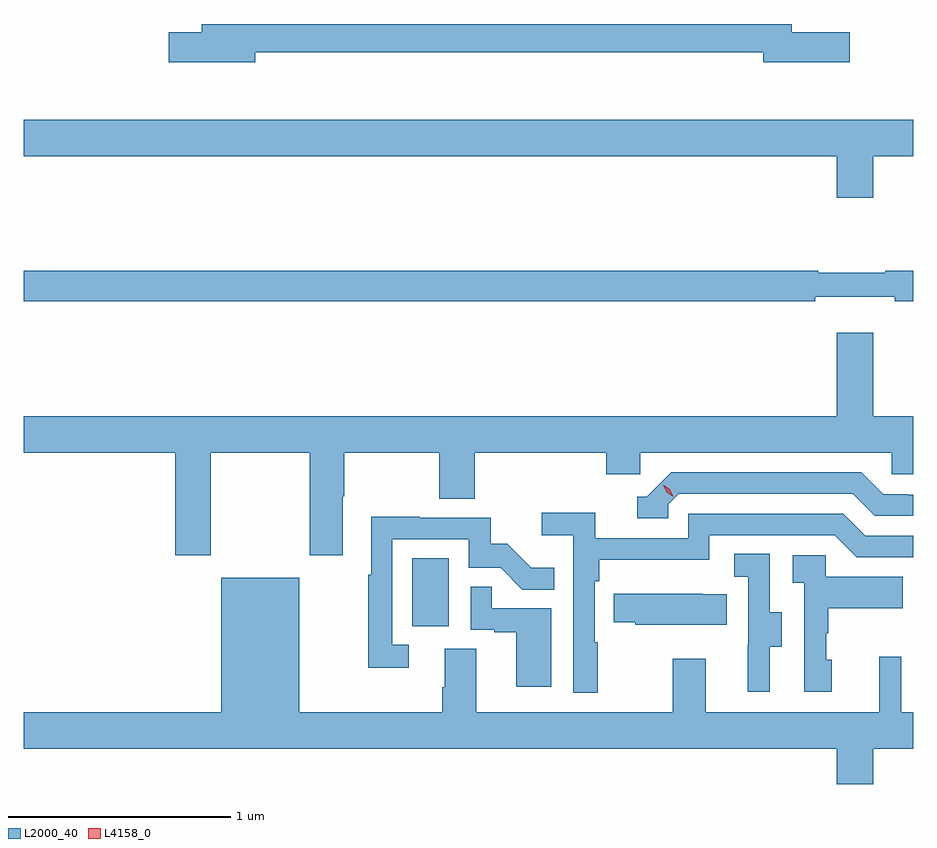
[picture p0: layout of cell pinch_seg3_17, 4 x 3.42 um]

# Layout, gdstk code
import gdstk
lib = gdstk.Library(unit=1e-6, precision=1e-09)
def R(c, l, rs):  # rectangles x0, y0, x1, y1
    for r in rs: c.add(gdstk.rectangle(r[:2], r[2:], *l))
def P(c, l, *ps):  # polygons
    for p in ps: c.add(gdstk.Polygon(p, *l))
L2000_40 = (2000, 40)
L4158_0 = (4158, 0)

pinch_seg3_17 = lib.new_cell('pinch_seg3_17')
R(pinch_seg3_17, L2000_40, [(1122.14,745.422,1122.304,745.729)])
P(pinch_seg3_17, L2000_40, [(1121.434,748.002),(1123.718,748.002),(1123.718,747.959),(1124.107,747.959),(1124.107,748.094),(1123.846,748.094),(1123.846,748.13),(1121.195,748.13),(1121.195,748.094),(1121.046,748.094),(1121.046,747.959),(1121.434,747.959)],
  [(1124.212,747.536),(1124.393,747.536),(1124.393,747.7),(1120.393,747.7),(1120.393,747.536),(1124.048,747.536),(1124.048,747.348),(1124.212,747.348)],
  [(1123.952,746.903),(1124.308,746.903),(1124.308,746.884),(1124.393,746.884),(1124.393,747.02),(1124.266,747.02),(1124.266,747.013),(1123.966,747.013),(1123.966,747.02),(1120.393,747.02),(1120.393,746.884),(1123.952,746.884)],
  [(1121.235,746.204),(1121.68,746.204),(1121.68,745.743),(1121.827,745.743),(1121.827,746.008),(1121.835,746.008),(1121.835,746.204),(1122.262,746.204),(1122.262,745.996),(1122.422,745.996),(1122.422,746.204),(1123.013,746.204),(1123.013,746.106),(1123.164,746.106),(1123.164,746.204),(1124.295,746.204),(1124.295,746.106),(1124.393,746.106),(1124.393,746.368),(1124.212,746.368),(1124.212,746.743),(1124.048,746.743),(1124.048,746.368),(1120.393,746.368),(1120.393,746.204),(1121.075,746.204),(1121.075,745.743),(1121.235,745.743)],
  [(1123.29,745.971),(1123.338,746.019),(1124.121,746.019),(1124.22,745.92),(1124.393,745.92),(1124.393,746.013),(1124.364,746.013),(1124.364,746.016),(1124.257,746.016),(1124.158,746.115),(1123.305,746.115),(1123.194,746.004),(1123.151,746.004),(1123.151,745.908),(1123.29,745.908)],
  [(1122.973,745.352),(1122.96,745.352),(1122.96,745.625),(1122.98,745.625),(1122.98,745.721),(1123.476,745.721),(1123.476,745.833),(1124.04,745.833),(1124.139,745.734),(1124.393,745.734),(1124.393,745.83),(1124.176,745.83),(1124.077,745.929),(1123.38,745.929),(1123.38,745.818),(1122.962,745.818),(1122.962,745.934),(1122.723,745.934),(1122.723,745.832),(1122.864,745.832),(1122.864,745.125),(1122.973,745.125)],
  [(1122.124,745.341),(1122.051,745.341),(1122.051,745.815),(1122.393,745.815),(1122.393,745.686),(1122.537,745.686),(1122.635,745.588),(1122.779,745.588),(1122.779,745.687),(1122.675,745.687),(1122.568,745.794),(1122.492,745.794),(1122.492,745.911),(1122.173,745.911),(1122.173,745.916),(1121.955,745.916),(1121.955,745.655),(1121.943,745.655),(1121.943,745.236),(1122.124,745.236)],
  [(1123.747,745.33),(1123.801,745.33),(1123.801,745.485),(1123.746,745.485),(1123.746,745.748),(1123.587,745.748),(1123.587,745.645),(1123.65,745.645),(1123.65,745.341),(1123.649,745.341),(1123.649,745.128),(1123.747,745.128)],
  [(1124.026,745.272),(1124.001,745.272),(1124.001,745.391),(1124.011,745.391),(1124.011,745.505),(1124.345,745.505),(1124.345,745.645),(1123.998,745.645),(1123.998,745.743),(1123.851,745.743),(1123.851,745.619),(1123.902,745.619),(1123.902,745.128),(1124.026,745.128)],
  [(1124.212,744.872),(1124.393,744.872),(1124.393,745.036),(1124.337,745.036),(1124.337,745.285),(1124.24,745.285),(1124.24,745.036),(1123.459,745.036),(1123.459,745.276),(1123.312,745.276),(1123.312,745.036),(1122.427,745.036),(1122.427,745.322),(1122.287,745.322),(1122.287,745.148),(1122.275,745.148),(1122.275,745.036),(1121.632,745.036),(1121.632,745.642),(1121.282,745.642),(1121.282,745.036),(1120.393,745.036),(1120.393,744.872),(1124.048,744.872),(1124.048,744.714),(1124.212,744.714)],
  [(1122.766,745.503),(1122.497,745.503),(1122.497,745.601),(1122.402,745.601),(1122.402,745.407),(1122.509,745.407),(1122.509,745.395),(1122.608,745.395),(1122.608,745.152),(1122.766,745.152)],
  [(1123.553,745.567),(1123.445,745.567),(1123.445,745.57),(1123.045,745.57),(1123.045,745.441),(1123.143,745.441),(1123.143,745.43),(1123.553,745.43)])
P(pinch_seg3_17, L4158_0, [(1123.314,746.005),(1123.283,746.025),(1123.268,746.058),(1123.268,746.058),(1123.268,746.058),(1123.298,746.038),(1123.314,746.005),(1123.314,746.005)])

lib.write_gds('pinch_seg3_17.gds')
